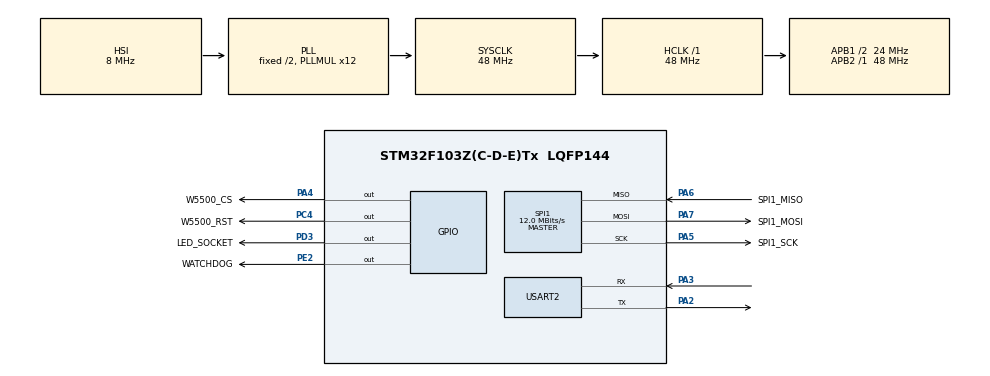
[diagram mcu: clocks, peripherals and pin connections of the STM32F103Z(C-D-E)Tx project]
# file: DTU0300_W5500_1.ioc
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Mcu.Family=STM32F1
Mcu.Name=STM32F103Z(C-D-E)Tx
Mcu.Package=LQFP144
NVIC.PriorityGroup=NVIC_PRIORITYGROUP_4
PA13.Mode=Serial_Wire
PA13.Signal=SYS_JTMS-SWDIO
PA14.Mode=Serial_Wire
PA14.Signal=SYS_JTCK-SWCLK
PA2.Mode=Asynchronous
PA2.Signal=USART2_TX
PA3.Mode=Asynchronous
PA3.Signal=USART2_RX
PA4.GPIO_Label=W5500_CS
PA4.Signal=GPIO_Output
PA5.GPIO_Label=SPI1_SCK
PA5.Mode=Full_Duplex_Master
PA5.Signal=SPI1_SCK
PA6.GPIO_Label=SPI1_MISO
PA6.Mode=Full_Duplex_Master
PA6.Signal=SPI1_MISO
PA7.GPIO_Label=SPI1_MOSI
PA7.Mode=Full_Duplex_Master
PA7.Signal=SPI1_MOSI
PC4.GPIO_Label=W5500_RST
PC4.Signal=GPIO_Output
PD3.GPIO_Label=LED_SOCKET
PD3.Signal=GPIO_Output
PE2.GPIO_Label=WATCHDOG
PE2.Signal=GPIO_Output
ProjectManager.HeapSize=0x200
ProjectManager.StackSize=0x400
ProjectManager.TargetToolchain=TrueSTUDIO
RCC.AHBFreq_Value=48000000
RCC.APB1CLKDivider=RCC_HCLK_DIV2
RCC.APB1Freq_Value=24000000
RCC.APB1TimFreq_Value=48000000
RCC.APB2Freq_Value=48000000
RCC.APB2TimFreq_Value=48000000
RCC.HCLKFreq_Value=48000000
RCC.PLLMUL=RCC_PLL_MUL12
RCC.SYSCLKFreq_VALUE=48000000
RCC.SYSCLKSource=RCC_SYSCLKSOURCE_PLLCLK
RCC.USBFreq_Value=48000000
SPI1.BaudRatePrescaler=SPI_BAUDRATEPRESCALER_4
SPI1.CLKPhase=SPI_PHASE_2EDGE
SPI1.CLKPolarity=SPI_POLARITY_HIGH
SPI1.CalculateBaudRate=12.0 MBits/s
SPI1.Direction=SPI_DIRECTION_2LINES
SPI1.Mode=SPI_MODE_MASTER
SPI1.VirtualType=VM_MASTER
USART2.VirtualMode=VM_ASYNC
board=custom

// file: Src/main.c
/* USER CODE BEGIN Header */
/**
  ******************************************************************************
  * @file           : main.c
  * @brief          : Main program body
  ******************************************************************************
  * @attention
  *
  * <h2><center>&copy; Copyright (c) 2019 STMicroelectronics.
  * All rights reserved.</center></h2>
  *
  * This software component is licensed by ST under BSD 3-Clause license,
  * the "License"; You may not use this file except in compliance with the
  * License. You may obtain a copy of the License at:
  *                        opensource.org/licenses/BSD-3-Clause
  *
  ******************************************************************************
  */
/* USER CODE END Header */

#include "main.h"

/* USER CODE BEGIN Includes */
//#include <w5500_initcode.h>
#include "w5500_initcode.h"
#include "socket.h"
/* USER CODE END Includes */

SPI_HandleTypeDef hspi1;

UART_HandleTypeDef huart2;

/* USER CODE BEGIN PV */
//
wiz_NetInfo gWIZNETINFO = {
    .mac = {0x00, 0x08, 0xdc, 0xab, 0xcd, 0x49},
    //.mac = {0x00, 0x00, 0x00, 0x00, 0x00, 0x00},
    .ip  = {192,168,11,22},
    .sn  = {255,255,255,0},
    .gw  = {192,168,11,1},
    .dns = {8,8,8,8},
    .dhcp = NETINFO_STATIC
};
//
/* USER CODE END PV */

void SystemClock_Config(void);
static void MX_GPIO_Init(void);
static void MX_SPI1_Init(void);
static void MX_USART2_UART_Init(void);

/* USER CODE BEGIN 0 */
void updateWatchdog(void)
{

  HAL_GPIO_WritePin(WATCHDOG_GPIO_Port, WATCHDOG_Pin, GPIO_PIN_RESET);
  HAL_GPIO_WritePin(WATCHDOG_GPIO_Port, WATCHDOG_Pin, GPIO_PIN_RESET);
  HAL_GPIO_WritePin(WATCHDOG_GPIO_Port, WATCHDOG_Pin, GPIO_PIN_RESET);
  HAL_GPIO_WritePin(WATCHDOG_GPIO_Port, WATCHDOG_Pin, GPIO_PIN_RESET);
  HAL_GPIO_WritePin(WATCHDOG_GPIO_Port, WATCHDOG_Pin, GPIO_PIN_RESET);

  HAL_GPIO_WritePin(WATCHDOG_GPIO_Port, WATCHDOG_Pin, GPIO_PIN_SET);

}

int _write(int file, char* p, int len)
{
  HAL_UART_Transmit(&huart2, p, len, 10);
  return len;
}

/* USER CODE END 0 */

int main(void)
{
  /* USER CODE BEGIN 1 */
  uint8_t w5500_s0_status = 0x10;
  uint8_t w5500_s1_status = 0x10;

  uint8_t buf[]   = "This is DTU-3000 using W5500";
  uint8_t address_target[]  = {192,168,11,101};
  uint8_t count = 0;
  /* USER CODE END 1 */

  /* MCU Configuration--------------------------------------------------------*/

  /* Reset of all peripherals, Initializes the Flash interface and the Systick. */
  HAL_Init();

  /* Configure the system clock */
  SystemClock_Config();

  /* Initialize all configured peripherals */
  MX_GPIO_Init();
  MX_SPI1_Init();
  MX_USART2_UART_Init();
  /* USER CODE BEGIN 2 */
  W5500_hw_Rst();
  W5500_init();

  socket(0, Sn_MR_TCP, 5000, SF_TCP_NODELAY);
  listen(0);
  /* USER CODE END 2 */

  /* Infinite loop */
  while (1)
  {

    /* USER CODE BEGIN 3 */
	  HAL_GPIO_TogglePin(LED_SOCKET_GPIO_Port, LED_SOCKET_Pin);
	  //printf("0x0A \r \n");
	  HAL_Delay(500);

	  //updateWatchdog();
	  //socket(0, Sn_MR_TCP, 5000, SF_TCP_NODELAY);
	  //listen(0);

	  w5500_s0_status = getSn_SR(0);
	  w5500_s1_status = getSn_SR(1);

	  if(w5500_s0_status == SOCK_ESTABLISHED)
	  {
	    printf("Welcome to W5500 \r \n");
	    send(0, buf, sizeof(buf));
	    //send(0, &count,1);
	    //count++;
	  }
	  else
	  {
	    printf("W5500 Status Socket0 == 0x%X Socket1 == 0x%X \r \n", w5500_s0_status , w5500_s1_status);
	  }
  }
  /* USER CODE END 3 */
}

void SystemClock_Config(void)
{
  RCC_OscInitTypeDef RCC_OscInitStruct = {0};
  RCC_ClkInitTypeDef RCC_ClkInitStruct = {0};

  /** Initializes the CPU, AHB and APB busses clocks
  */
  RCC_OscInitStruct.OscillatorType = RCC_OSCILLATORTYPE_HSI;
  RCC_OscInitStruct.HSIState = RCC_HSI_ON;
  RCC_OscInitStruct.HSICalibrationValue = RCC_HSICALIBRATION_DEFAULT;
  RCC_OscInitStruct.PLL.PLLState = RCC_PLL_ON;
  RCC_OscInitStruct.PLL.PLLSource = RCC_PLLSOURCE_HSI_DIV2;
  RCC_OscInitStruct.PLL.PLLMUL = RCC_PLL_MUL12;
  if (HAL_RCC_OscConfig(&RCC_OscInitStruct) != HAL_OK)
  {
    Error_Handler();
  }
  /** Initializes the CPU, AHB and APB busses clocks
  */
  RCC_ClkInitStruct.ClockType = RCC_CLOCKTYPE_HCLK|RCC_CLOCKTYPE_SYSCLK
                              |RCC_CLOCKTYPE_PCLK1|RCC_CLOCKTYPE_PCLK2;
  RCC_ClkInitStruct.SYSCLKSource = RCC_SYSCLKSOURCE_PLLCLK;
  RCC_ClkInitStruct.AHBCLKDivider = RCC_SYSCLK_DIV1;
  RCC_ClkInitStruct.APB1CLKDivider = RCC_HCLK_DIV2;
  RCC_ClkInitStruct.APB2CLKDivider = RCC_HCLK_DIV1;

  if (HAL_RCC_ClockConfig(&RCC_ClkInitStruct, FLASH_LATENCY_1) != HAL_OK)
  {
    Error_Handler();
  }
}

static void MX_SPI1_Init(void)
{

  /* SPI1 parameter configuration*/
  hspi1.Instance = SPI1;
  hspi1.Init.Mode = SPI_MODE_MASTER;
  hspi1.Init.Direction = SPI_DIRECTION_2LINES;
  hspi1.Init.DataSize = SPI_DATASIZE_8BIT;
  hspi1.Init.CLKPolarity = SPI_POLARITY_HIGH;
  hspi1.Init.CLKPhase = SPI_PHASE_2EDGE;
  hspi1.Init.NSS = SPI_NSS_SOFT;
  hspi1.Init.BaudRatePrescaler = SPI_BAUDRATEPRESCALER_4;
  hspi1.Init.FirstBit = SPI_FIRSTBIT_MSB;
  hspi1.Init.TIMode = SPI_TIMODE_DISABLE;
  hspi1.Init.CRCCalculation = SPI_CRCCALCULATION_DISABLE;
  hspi1.Init.CRCPolynomial = 10;
  if (HAL_SPI_Init(&hspi1) != HAL_OK)
  {
    Error_Handler();
  }

}

static void MX_USART2_UART_Init(void)
{

  huart2.Instance = USART2;
  huart2.Init.BaudRate = 115200;
  huart2.Init.WordLength = UART_WORDLENGTH_8B;
  huart2.Init.StopBits = UART_STOPBITS_1;
  huart2.Init.Parity = UART_PARITY_NONE;
  huart2.Init.Mode = UART_MODE_TX_RX;
  huart2.Init.HwFlowCtl = UART_HWCONTROL_NONE;
  huart2.Init.OverSampling = UART_OVERSAMPLING_16;
  if (HAL_UART_Init(&huart2) != HAL_OK)
  {
    Error_Handler();
  }

}

static void MX_GPIO_Init(void)
{
  GPIO_InitTypeDef GPIO_InitStruct = {0};

  /* GPIO Ports Clock Enable */
  __HAL_RCC_GPIOE_CLK_ENABLE();
  __HAL_RCC_GPIOA_CLK_ENABLE();
  __HAL_RCC_GPIOC_CLK_ENABLE();
  __HAL_RCC_GPIOD_CLK_ENABLE();

  /*Configure GPIO pin Output Level */
  HAL_GPIO_WritePin(WATCHDOG_GPIO_Port, WATCHDOG_Pin, GPIO_PIN_RESET);

  /*Configure GPIO pin Output Level */
  HAL_GPIO_WritePin(W5500_CS_GPIO_Port, W5500_CS_Pin, GPIO_PIN_RESET);

  /*Configure GPIO pin Output Level */
  HAL_GPIO_WritePin(W5500_RST_GPIO_Port, W5500_RST_Pin, GPIO_PIN_RESET);

  /*Configure GPIO pin Output Level */
  HAL_GPIO_WritePin(LED_SOCKET_GPIO_Port, LED_SOCKET_Pin, GPIO_PIN_RESET);

  /*Configure GPIO pin : WATCHDOG_Pin */
  GPIO_InitStruct.Pin = WATCHDOG_Pin;
  GPIO_InitStruct.Mode = GPIO_MODE_OUTPUT_PP;
  GPIO_InitStruct.Pull = GPIO_NOPULL;
  GPIO_InitStruct.Speed = GPIO_SPEED_FREQ_LOW;
  HAL_GPIO_Init(WATCHDOG_GPIO_Port, &GPIO_InitStruct);

  /*Configure GPIO pin : W5500_CS_Pin */
  GPIO_InitStruct.Pin = W5500_CS_Pin;
  GPIO_InitStruct.Mode = GPIO_MODE_OUTPUT_PP;
  GPIO_InitStruct.Pull = GPIO_NOPULL;
  GPIO_InitStruct.Speed = GPIO_SPEED_FREQ_LOW;
  HAL_GPIO_Init(W5500_CS_GPIO_Port, &GPIO_InitStruct);

  /*Configure GPIO pin : W5500_RST_Pin */
  GPIO_InitStruct.Pin = W5500_RST_Pin;
  GPIO_InitStruct.Mode = GPIO_MODE_OUTPUT_PP;
  GPIO_InitStruct.Pull = GPIO_NOPULL;
  GPIO_InitStruct.Speed = GPIO_SPEED_FREQ_LOW;
  HAL_GPIO_Init(W5500_RST_GPIO_Port, &GPIO_InitStruct);

  /*Configure GPIO pin : LED_SOCKET_Pin */
  GPIO_InitStruct.Pin = LED_SOCKET_Pin;
  GPIO_InitStruct.Mode = GPIO_MODE_OUTPUT_PP;
  GPIO_InitStruct.Pull = GPIO_NOPULL;
  GPIO_InitStruct.Speed = GPIO_SPEED_FREQ_LOW;
  HAL_GPIO_Init(LED_SOCKET_GPIO_Port, &GPIO_InitStruct);

}

void Error_Handler(void)
{
}

/************************ (C) COPYRIGHT STMicroelectronics *****END OF FILE****/
